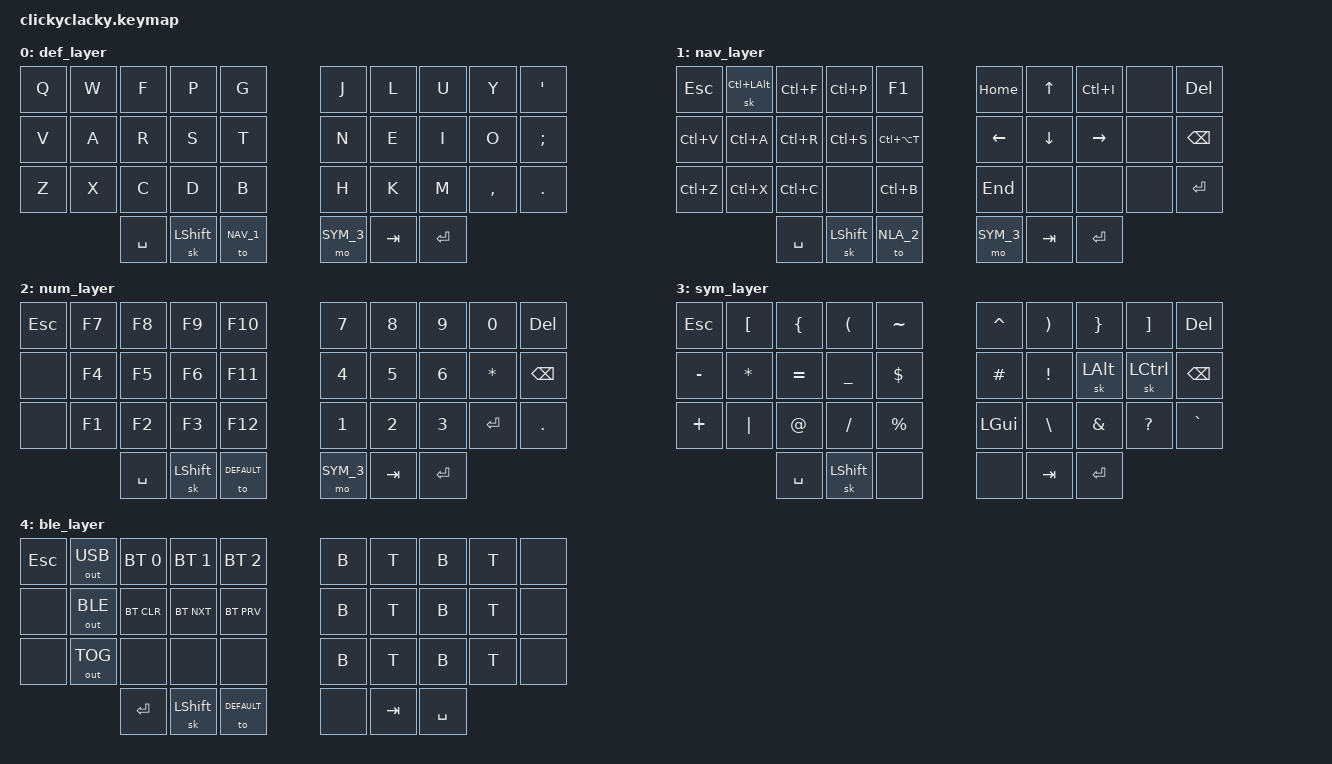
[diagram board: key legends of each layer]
#include <behaviors.dtsi>
#include <dt-bindings/zmk/keys.h>
#include <dt-bindings/zmk/bt.h>
#include <dt-bindings/zmk/outputs.h>

#define DEFAULT 0
#define NAV_1 1
#define NLA_2 2
#define SYM_3 3
#define BLE_4 4

#define COMBO_HOLD_TIME_MS 50

/ {
    combos {
       compatible = "zmk,combos";
       combo_threef {
           timeout-ms = <COMBO_HOLD_TIME_MS>;
           key-positions = < 30 31 32>;
           bindings = <&kp LC(LA(DEL))>;
       };
       combo_win {
           timeout-ms = <COMBO_HOLD_TIME_MS>;
           key-positions = < 33 34 35>;
           bindings = <&sk LGUI>;
       };
       combo_blue {
           timeout-ms = <COMBO_HOLD_TIME_MS>;
           key-positions = < 14 24>;
           bindings = <&to BLE_4>;
       };
       combo_default {
           timeout-ms = <COMBO_HOLD_TIME_MS>;
           key-positions = < 33 38>;
           bindings = <&to DEFAULT>;
       };
    };

    behaviors {
        shift_cap: shift_cap {
            compatible = "zmk,behavior-tap-dance";
            label = "SHIFT_CAPS";
            #binding-cells = <0>;
            tapping-term-ms = <200>;
            bindings = <&kp LSHFT>, <&kp CAPS>;
        };
         bspc_del: backspace_delete {
            compatible = "zmk,behavior-mod-morph";
            label = "BACKSPACE_DELETE";
            #binding-cells = <0>;
            bindings = <&kp BACKSPACE>, <&kp DELETE>;
            mods = <(MOD_LSFT)>;
        };
    };

    keymap {
        compatible = "zmk,keymap";

        def_layer {
            bindings = <
                &kp Q       &kp W       &kp F       &kp P       &kp G              &kp J       &kp L       &kp U       &kp Y       &kp SQT 
                &kp V       &kp A       &kp R       &kp S       &kp T              &kp N       &kp E       &kp I       &kp O       &kp SEMI
                &kp Z       &kp X       &kp C       &kp D       &kp B              &kp H       &kp K       &kp M       &kp COMMA   &kp DOT
                                        &kp SPACE   &sk LSHFT   &to NAV_1          &mo SYM_3   &kp TAB     &kp RET            
            >;
        };

        nav_layer {
            bindings = <
                &kp ESC     &sk LC(LALT) &kp LC(F)  &kp LC(P)   &kp F1              &kp HOME    &kp UP      &kp LC(I)   &none        &kp DEL
                &kp LC(V)   &kp LC(A)   &kp LC(R)   &kp LC(S)   &kp LC(LA(T))       &kp LEFT    &kp DOWN    &kp RIGHT   &none        &kp BSPC
                &kp LC(Z)   &kp LC(X)   &kp LC(C)   &none       &kp LC(B)           &kp END     &none       &none       &none        &kp ENTER
                                        &kp SPACE   &sk LSHFT   &to NLA_2           &mo SYM_3   &kp TAB     &kp RET 
            >;
        };

        num_layer {
            bindings = <
                &kp ESC     &kp F7      &kp F8      &kp F9      &kp F10             &kp N7      &kp N8      &kp N9       &kp N0       &kp DEL
                &none       &kp F4      &kp F5      &kp F6      &kp F11             &kp N4      &kp N5      &kp N6       &kp ASTRK    &kp BSPC
                &none       &kp F1      &kp F2      &kp F3      &kp F12             &kp N1      &kp N2      &kp N3       &kp ENTER    &kp DOT
                                        &kp SPACE   &sk LSHFT   &to DEFAULT         &mo SYM_3   &kp TAB     &kp RET
            >;
        };

        sym_layer {
            bindings = <
                &kp ESC     &kp LBKT    &kp LBRC    &kp LPAR    &kp TILDE           &kp CARET   &kp RPAR    &kp RBRC    &kp RBKT     &kp DEL
                &kp MINUS   &kp ASTRK   &kp EQUAL   &kp UNDER   &kp DLLR            &kp HASH    &kp EXCL    &sk LALT    &sk LCTRL    &kp BSPC
                &kp PLUS    &kp PIPE    &kp AT      &kp FSLH    &kp PRCNT           &kp LGUI    &kp BSLH    &kp AMPS    &kp QMARK    &kp GRAVE
                                        &kp SPACE   &sk LSHFT   &none               &none       &kp TAB     &kp RET 
            >;
        };

        

        ble_layer {
            bindings = <
                &kp ESC     &out OUT_USB    &bt BT_SEL 0   &bt BT_SEL 1    &bt BT_SEL 2          &kp B &kp T &kp B &kp T &none
                &none       &out OUT_BLE    &bt BT_CLR     &bt BT_NXT      &bt BT_PRV            &kp B &kp T &kp B &kp T &none
                &none       &out OUT_TOG    &none          &none           &none                 &kp B &kp T &kp B &kp T &none
                                            &kp RET        &sk LSHFT       &to DEFAULT           &none   &kp TAB     &kp SPACE
            >;
        };
    };
}; //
